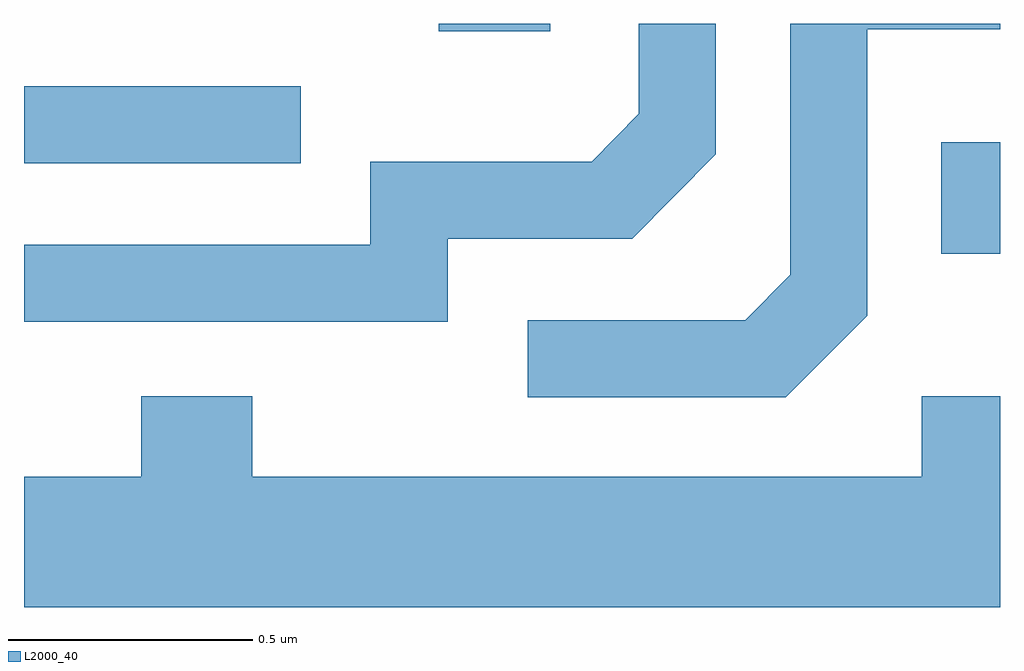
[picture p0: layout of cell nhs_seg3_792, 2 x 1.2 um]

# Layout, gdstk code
import gdstk
lib = gdstk.Library(unit=1e-6, precision=1e-09)
def R(c, l, rs):  # rectangles x0, y0, x1, y1
    for r in rs: c.add(gdstk.rectangle(r[:2], r[2:], *l))
def P(c, l, *ps):  # polygons
    for p in ps: c.add(gdstk.Polygon(p, *l))
L2000_40 = (2000, 40)

nhs_seg3_792 = lib.new_cell('nhs_seg3_792')
R(nhs_seg3_792, L2000_40, [(192.491,1224.421,192.611,1224.649), (190.611,1224.606,191.178,1224.764), (191.461,1224.876,191.689,1224.892)])
P(nhs_seg3_792, L2000_40, [(191.479,1224.451),(191.857,1224.451),(192.029,1224.624),(192.029,1224.892),(191.871,1224.892),(191.871,1224.707),(191.774,1224.609),(191.321,1224.609),(191.321,1224.439),(190.611,1224.439),(190.611,1224.281),(191.479,1224.281)],
  [(192.339,1224.294),(192.339,1224.881),(192.611,1224.881),(192.611,1224.892),(192.181,1224.892),(192.181,1224.377),(192.089,1224.284),(191.643,1224.284),(191.643,1224.126),(192.172,1224.126)],
  [(192.611,1224.129),(192.451,1224.129),(192.451,1223.964),(191.079,1223.964),(191.079,1224.129),(190.851,1224.129),(190.851,1223.964),(190.611,1223.964),(190.611,1223.696),(192.611,1223.696)])

lib.write_gds('nhs_seg3_792.gds')
